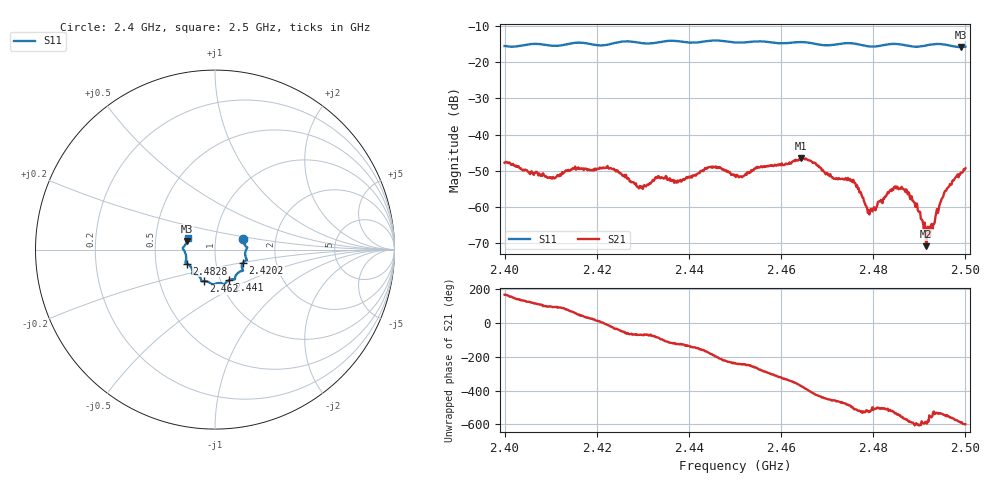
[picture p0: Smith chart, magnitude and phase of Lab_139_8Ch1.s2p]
# Hz S RI R 50
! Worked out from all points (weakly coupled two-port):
!   601 points, 2.4 GHz to 2.5 GHz, reference 50 ohm
!   highest |S21| = -46.48 dB at 2.4643 GHz (marker M1); lowest = -70.9 dB at 2.4915 GHz (marker M2)
!   lowest |S11| = -15.8 dB at 2.499 GHz (marker M3), VSWR 1.39, Z = 36.4 + j3.6 ohm
!   |S11| at or under -10 dB: start of sweep to end of sweep
!   S12 and S22 are empty: the file has one direction only
!   S11 on the Smith chart (normalised r, x): 2.4 GHz: 1.36, +0.17; 2.4202 GHz: 1.35, -0.20; 2.441 GHz: 1.10, -0.39; 2.462 GHz: 0.83, -0.30; 2.4828 GHz: 0.72, -0.12; 2.5 GHz: 0.73, +0.09
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2.4e9  0.157 0.0608  -0.00397 0.000879  0 0  0 0
2.409833e9  0.1708 -0.00577  -0.000398 0.00248  0 0  0 0
2.416667e9  0.1774 -0.0592  0.00238 0.00234  0 0  0 0
2.420167e9  0.1569 -0.072  0.0033 0.000697  0 0  0 0
2.4295e9  0.1399 -0.1224  0.000674 -0.00172  0 0  0 0
2.433333e9  0.1127 -0.152  0.000169 -0.00266  0 0  0 0
2.441e9  0.0772 -0.1706  -0.00221 -0.0016  0 0  0 0
2.445e9  0.0536 -0.1929  -0.0036 0.000269  0 0  0 0
2.45e9  0.0272 -0.1868  -0.0015 0.0023  0 0  0 0
2.462e9  -0.0612 -0.176  0.00377 0.00117  0 0  0 0
2.464333e9  -0.0739 -0.176  0.00463 -0.00103  0 0  0 0
2.466667e9  -0.0775 -0.1672  0.0027 -0.00322  0 0  0 0
2.4755e9  -0.1263 -0.1328  -0.0017 -0.00137  0 0  0 0
2.479333e9  -0.1318 -0.1005  -0.000856 -0.000242  0 0  0 0
2.482833e9  -0.158 -0.0779  -0.00125 -0.000686  0 0  0 0
2.483333e9  -0.1607 -0.0766  -0.00145 -0.000532  0 0  0 0
2.487333e9  -0.1611 -0.0563  -0.00143 0.000832  0 0  0 0
2.4915e9  -0.1712 -0.00666  -0.000193 0.000208  0 0  0 0
2.492833e9  -0.1775 0.00286  -0.000483 7.8e-05  0 0  0 0
2.495833e9  -0.174 0.0159  -0.00163 0.000324  0 0  0 0
2.499e9  -0.1556 0.0482  -0.00194 0.00226  0 0  0 0
2.5e9  -0.153 0.062  -0.00176 0.00291  0 0  0 0
